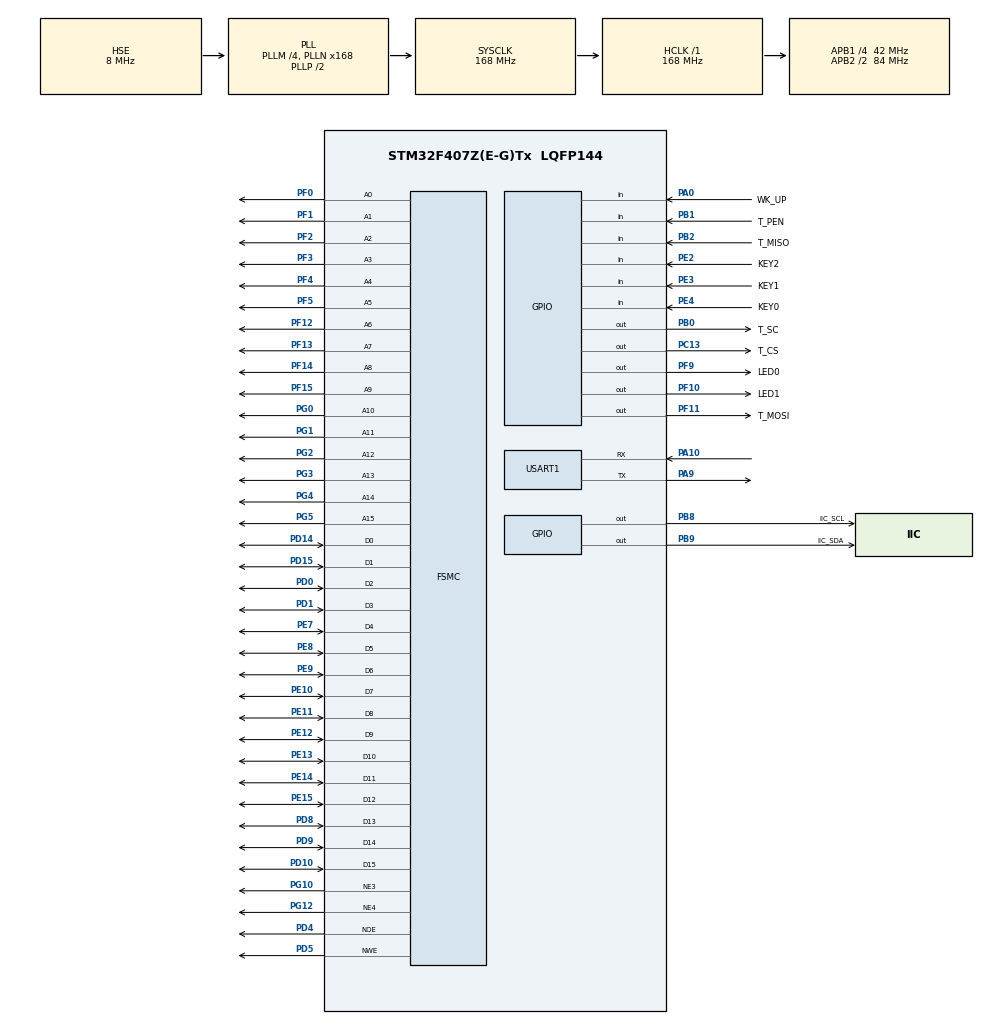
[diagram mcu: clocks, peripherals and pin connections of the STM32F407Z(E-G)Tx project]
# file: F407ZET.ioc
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Mcu.Family=STM32F4
Mcu.Name=STM32F407Z(E-G)Tx
Mcu.Package=LQFP144
NVIC.PriorityGroup=NVIC_PRIORITYGROUP_4
PA0-WKUP.GPIO_Label=WK_UP
PA0-WKUP.GPIO_PuPd=GPIO_PULLDOWN
PA0-WKUP.Signal=GPIO_Input
PA10.GPIO_PuPd=GPIO_PULLUP
PA10.Mode=Asynchronous
PA10.Signal=USART1_RX
PA9.GPIO_PuPd=GPIO_PULLUP
PA9.Mode=Asynchronous
PA9.Signal=USART1_TX
PB0.GPIO_Label=T_SC
PB0.GPIO_PuPd=GPIO_PULLUP
PB0.Signal=GPIO_Output
PB1.GPIO_Label=T_PEN
PB1.GPIO_PuPd=GPIO_PULLUP
PB1.Signal=GPIO_Input
PB2.GPIO_Label=T_MISO
PB2.Signal=GPIO_Input
PB8.GPIO_Label=IIC_SCL
PB8.GPIO_PuPd=GPIO_PULLUP
PB8.GPIO_Speed=GPIO_SPEED_FREQ_VERY_HIGH
PB8.Signal=GPIO_Output
PB9.GPIO_Label=IIC_SDA
PB9.GPIO_PuPd=GPIO_PULLUP
PB9.GPIO_Speed=GPIO_SPEED_FREQ_VERY_HIGH
PB9.Signal=GPIO_Output
PC13-ANTI_TAMP.GPIO_Label=T_CS
PC13-ANTI_TAMP.Signal=GPIO_Output
PD0.Signal=FSMC_D2_DA2
PD1.Signal=FSMC_D3_DA3
PD10.Signal=FSMC_D15_DA15
PD14.Signal=FSMC_D0_DA0
PD15.Signal=FSMC_D1_DA1
PD4.Signal=FSMC_NOE
PD5.Signal=FSMC_NWE
PD8.Signal=FSMC_D13_DA13
PD9.Signal=FSMC_D14_DA14
PE10.Signal=FSMC_D7_DA7
PE11.Signal=FSMC_D8_DA8
PE12.Signal=FSMC_D9_DA9
PE13.Signal=FSMC_D10_DA10
PE14.Signal=FSMC_D11_DA11
PE15.Signal=FSMC_D12_DA12
PE2.GPIO_Label=KEY2
PE2.GPIO_PuPd=GPIO_PULLUP
PE2.Signal=GPIO_Input
PE3.GPIO_Label=KEY1
PE3.GPIO_PuPd=GPIO_PULLUP
PE3.Signal=GPIO_Input
PE4.GPIO_Label=KEY0
PE4.GPIO_PuPd=GPIO_PULLUP
PE4.Signal=GPIO_Input
PE7.Signal=FSMC_D4_DA4
PE8.Signal=FSMC_D5_DA5
PE9.Signal=FSMC_D6_DA6
PF0.Signal=FSMC_A0
PF1.Signal=FSMC_A1
PF10.GPIO_Label=LED1
PF10.GPIO_PuPd=GPIO_PULLUP
PF10.Signal=GPIO_Output
PF11.GPIO_Label=T_MOSI
PF11.Signal=GPIO_Output
PF12.Signal=FSMC_A6
PF13.Signal=FSMC_A7
PF14.Signal=FSMC_A8
PF15.Signal=FSMC_A9
PF2.Signal=FSMC_A2
PF3.Signal=FSMC_A3
PF4.Signal=FSMC_A4
PF5.Signal=FSMC_A5
PF9.GPIO_Label=LED0
PF9.GPIO_PuPd=GPIO_PULLUP
PF9.Signal=GPIO_Output
PG0.Signal=FSMC_A10
PG1.Signal=FSMC_A11
PG10.Mode=NorPsramChipSelect3_3
PG10.Signal=FSMC_NE3
PG12.Mode=NorPsramChipSelect4_4
PG12.Signal=FSMC_NE4
PG2.Signal=FSMC_A12
PG3.Signal=FSMC_A13
PG4.Signal=FSMC_A14
PG5.Signal=FSMC_A15
PH0-OSC_IN.Mode=HSE-External-Oscillator
PH0-OSC_IN.Signal=RCC_OSC_IN
PH1-OSC_OUT.Mode=HSE-External-Oscillator
PH1-OSC_OUT.Signal=RCC_OSC_OUT
ProjectManager.HeapSize=0x200
ProjectManager.StackSize=0x400
ProjectManager.TargetToolchain=MDK-ARM V5.32
RCC.48MHZClocksFreq_Value=84000000
RCC.AHBFreq_Value=168000000
RCC.APB1CLKDivider=RCC_HCLK_DIV4
RCC.APB1Freq_Value=42000000
RCC.APB1TimFreq_Value=84000000
RCC.APB2CLKDivider=RCC_HCLK_DIV2
RCC.APB2Freq_Value=84000000
RCC.APB2TimFreq_Value=168000000
RCC.CortexFreq_Value=168000000
RCC.HCLKFreq_Value=168000000
RCC.HSE_VALUE=8000000
RCC.HSI_VALUE=16000000
RCC.LSE_VALUE=32768
RCC.PLLM=4
RCC.PLLN=168
RCC.PLLSourceVirtual=RCC_PLLSOURCE_HSE
RCC.SYSCLKFreq_VALUE=168000000
RCC.SYSCLKSource=RCC_SYSCLKSOURCE_PLLCLK
RCC.VCOOutputFreq_Value=336000000
SH.FSMC_A0.0=FSMC_A0,16b-a4
SH.FSMC_A0.1=FSMC_A0,16b-a3
SH.FSMC_A1.0=FSMC_A1,16b-a4
SH.FSMC_A1.1=FSMC_A1,16b-a3
SH.FSMC_A10.0=FSMC_A10,16b-a4
SH.FSMC_A10.1=FSMC_A10,16b-a3
SH.FSMC_A11.0=FSMC_A11,16b-a4
SH.FSMC_A11.1=FSMC_A11,16b-a3
SH.FSMC_A12.0=FSMC_A12,16b-a4
SH.FSMC_A12.1=FSMC_A12,16b-a3
SH.FSMC_A13.0=FSMC_A13,16b-a4
SH.FSMC_A13.1=FSMC_A13,16b-a3
SH.FSMC_A14.0=FSMC_A14,16b-a4
SH.FSMC_A14.1=FSMC_A14,16b-a3
SH.FSMC_A15.0=FSMC_A15,16b-a4
SH.FSMC_A15.1=FSMC_A15,16b-a3
SH.FSMC_A2.0=FSMC_A2,16b-a4
SH.FSMC_A2.1=FSMC_A2,16b-a3
SH.FSMC_A3.0=FSMC_A3,16b-a4
SH.FSMC_A3.1=FSMC_A3,16b-a3
SH.FSMC_A4.0=FSMC_A4,16b-a4
SH.FSMC_A4.1=FSMC_A4,16b-a3
SH.FSMC_A5.0=FSMC_A5,16b-a4
SH.FSMC_A5.1=FSMC_A5,16b-a3
SH.FSMC_A6.0=FSMC_A6,16b-a4
SH.FSMC_A6.1=FSMC_A6,16b-a3
SH.FSMC_A7.0=FSMC_A7,16b-a4
SH.FSMC_A7.1=FSMC_A7,16b-a3
SH.FSMC_A8.0=FSMC_A8,16b-a4
SH.FSMC_A8.1=FSMC_A8,16b-a3
SH.FSMC_A9.0=FSMC_A9,16b-a4
SH.FSMC_A9.1=FSMC_A9,16b-a3
SH.FSMC_D0_DA0.0=FSMC_D0,16b-d4
SH.FSMC_D0_DA0.1=FSMC_D0,16b-d3
SH.FSMC_D10_DA10.0=FSMC_D10,16b-d4
SH.FSMC_D10_DA10.1=FSMC_D10,16b-d3
SH.FSMC_D11_DA11.0=FSMC_D11,16b-d4
SH.FSMC_D11_DA11.1=FSMC_D11,16b-d3
SH.FSMC_D12_DA12.0=FSMC_D12,16b-d4
SH.FSMC_D12_DA12.1=FSMC_D12,16b-d3
SH.FSMC_D13_DA13.0=FSMC_D13,16b-d4
SH.FSMC_D13_DA13.1=FSMC_D13,16b-d3
SH.FSMC_D14_DA14.0=FSMC_D14,16b-d4
SH.FSMC_D14_DA14.1=FSMC_D14,16b-d3
SH.FSMC_D15_DA15.0=FSMC_D15,16b-d4
SH.FSMC_D15_DA15.1=FSMC_D15,16b-d3
SH.FSMC_D1_DA1.0=FSMC_D1,16b-d4
SH.FSMC_D1_DA1.1=FSMC_D1,16b-d3
SH.FSMC_D2_DA2.0=FSMC_D2,16b-d4
SH.FSMC_D2_DA2.1=FSMC_D2,16b-d3
SH.FSMC_D3_DA3.0=FSMC_D3,16b-d4
SH.FSMC_D3_DA3.1=FSMC_D3,16b-d3
SH.FSMC_D4_DA4.0=FSMC_D4,16b-d4
SH.FSMC_D4_DA4.1=FSMC_D4,16b-d3
SH.FSMC_D5_DA5.0=FSMC_D5,16b-d4
SH.FSMC_D5_DA5.1=FSMC_D5,16b-d3
SH.FSMC_D6_DA6.0=FSMC_D6,16b-d4
SH.FSMC_D6_DA6.1=FSMC_D6,16b-d3
SH.FSMC_D7_DA7.0=FSMC_D7,16b-d4
SH.FSMC_D7_DA7.1=FSMC_D7,16b-d3
SH.FSMC_D8_DA8.0=FSMC_D8,16b-d4
SH.FSMC_D8_DA8.1=FSMC_D8,16b-d3
SH.FSMC_D9_DA9.0=FSMC_D9,16b-d4
SH.FSMC_D9_DA9.1=FSMC_D9,16b-d3
SH.FSMC_NOE.0=FSMC_NOE,Sram3
SH.FSMC_NOE.1=FSMC_NOE,Sram4
SH.FSMC_NWE.0=FSMC_NWE,Sram3
SH.FSMC_NWE.1=FSMC_NWE,Sram4
TIM3.Period=999
TIM3.Prescaler=83
USART1.VirtualMode=VM_ASYNC
VP_TIM3_VS_ClockSourceITR.Mode=TriggerSource_ITR0
board=custom

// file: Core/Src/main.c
/* USER CODE BEGIN Header */
/**
  ******************************************************************************
  * @file           : main.c
  * @brief          : Main program body
  ******************************************************************************
  * @attention
  *
  * Copyright (c) 2024 STMicroelectronics.
  * All rights reserved.
  *
  * This software is licensed under terms that can be found in the LICENSE file
  * in the root directory of this software component.
  * If no LICENSE file comes with this software, it is provided AS-IS.
  *
  ******************************************************************************
  */
/* USER CODE END Header */
#include "main.h"
#include "tim.h"
#include "usart.h"
#include "gpio.h"
#include "fsmc.h"

/* USER CODE BEGIN Includes */
#include "sys/sys.h"
#include "delay/delay.h"
#include "usart/usart.h"
#include "LED/led.h"
#include "LCD/lcd.h"
#include "KEY/key.h"
#include "TIMER/timer.h"
#include "SRAM/sram.h"
#include "TOUCH/touch.h"
/* USER CODE END Includes */

void SystemClock_Config(void);

int main(void)
{

  /* MCU Configuration--------------------------------------------------------*/

  /* Reset of all peripherals, Initializes the Flash interface and the Systick. */
  HAL_Init();

  /* Configure the system clock */
  SystemClock_Config();

  /* Initialize all configured peripherals */
  MX_GPIO_Init();
  MX_FSMC_Init();
  MX_USART1_UART_Init();
  MX_TIM3_Init();
  /* USER CODE BEGIN 2 */

	NVIC_PriorityGroupConfig(NVIC_PriorityGroup_2);//设置系统中断优先级分组2
	delay_init(168);  //初始化延时函数
	uart_init(115200);		//初始化串口波特率为115200

	LED_Init();					//初始化LED
 	LCD_Init();					//LCD初始化
	KEY_Init(); 				//按键初始化
	TIM3_Int_Init(999,83);	//定时器初始化(1ms中断),用于给lvgl提供1ms的心跳节拍
	FSMC_SRAM_Init();		//初始化外部sram
	tp_dev.init();			//触摸屏初始化

  /* USER CODE END 2 */

  /* Infinite loop */
  while (1)
  {

  }
}

void SystemClock_Config(void)
{
  RCC_OscInitTypeDef RCC_OscInitStruct = {0};
  RCC_ClkInitTypeDef RCC_ClkInitStruct = {0};

  /** Configure the main internal regulator output voltage
  */
  __HAL_RCC_PWR_CLK_ENABLE();
  __HAL_PWR_VOLTAGESCALING_CONFIG(PWR_REGULATOR_VOLTAGE_SCALE1);

  /** Initializes the RCC Oscillators according to the specified parameters
  * in the RCC_OscInitTypeDef structure.
  */
  RCC_OscInitStruct.OscillatorType = RCC_OSCILLATORTYPE_HSE;
  RCC_OscInitStruct.HSEState = RCC_HSE_ON;
  RCC_OscInitStruct.PLL.PLLState = RCC_PLL_ON;
  RCC_OscInitStruct.PLL.PLLSource = RCC_PLLSOURCE_HSE;
  RCC_OscInitStruct.PLL.PLLM = 4;
  RCC_OscInitStruct.PLL.PLLN = 168;
  RCC_OscInitStruct.PLL.PLLP = RCC_PLLP_DIV2;
  RCC_OscInitStruct.PLL.PLLQ = 4;
  if (HAL_RCC_OscConfig(&RCC_OscInitStruct) != HAL_OK)
  {
    Error_Handler();
  }

  /** Initializes the CPU, AHB and APB buses clocks
  */
  RCC_ClkInitStruct.ClockType = RCC_CLOCKTYPE_HCLK|RCC_CLOCKTYPE_SYSCLK
                              |RCC_CLOCKTYPE_PCLK1|RCC_CLOCKTYPE_PCLK2;
  RCC_ClkInitStruct.SYSCLKSource = RCC_SYSCLKSOURCE_PLLCLK;
  RCC_ClkInitStruct.AHBCLKDivider = RCC_SYSCLK_DIV1;
  RCC_ClkInitStruct.APB1CLKDivider = RCC_HCLK_DIV4;
  RCC_ClkInitStruct.APB2CLKDivider = RCC_HCLK_DIV2;

  if (HAL_RCC_ClockConfig(&RCC_ClkInitStruct, FLASH_LATENCY_5) != HAL_OK)
  {
    Error_Handler();
  }
}

void Error_Handler(void)
{
  __disable_irq();
  while (1)
  {
  }
}
